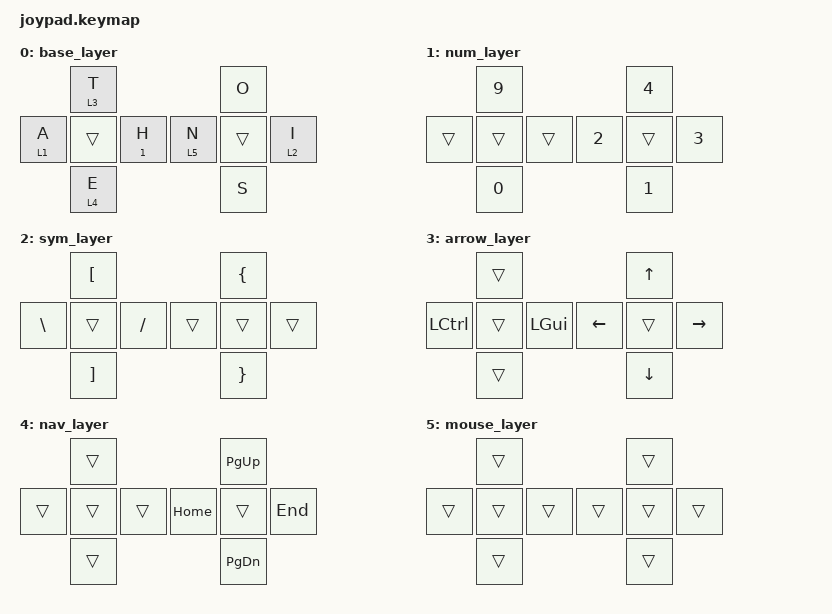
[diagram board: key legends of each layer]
/*
 * Copyright (c) 2020 The ZMK Contributors
 *
 * SPDX-License-Identifier: MIT
 */

#include <behaviors.dtsi>
#include <dt-bindings/zmk/keys.h>
#include <dt-bindings/zmk/bt.h>

#define KEY_I 7
#define KEY_O 1
#define KEY_N 5
#define KEY_S 9
#define RIGHT_CENTER 6

#define KEY_A 2
#define KEY_T 0
#define KEY_H 4
#define KEY_E 8
#define LEFT_CENTER 3

#define TIMEOUT_COMBO_2 175

/ {
	macros {
		shift_num: shift_num {
			label = "macro_shift_num";
			compatible = "zmk,behavior-macro";
			#binding-cells = <0>;
			wait-ms = <0>;
			bindings = <&macro_press &kp LSHFT &mo 1>
					 , <&macro_pause_for_release>
					 , <&macro_release &mo 1 &kp LSHFT>;
		};
	};

	slt: shift_layer_tap {
		compatible = "zmk,behavior-hold-tap";
		label = "SHIFT_LAYER_TAP";
		#binding-cells = <2>;
		flavor = "tap-preferred";
		tapping-term-ms = <200>;
		bindings = <&shift_num>, <&kp>;
	};

    keymap {
		compatible = "zmk,keymap";
        base_layer {
            bindings = <
                        &lt 3 T                  &kp O
                &lt 1 A &trans &slt 1 H  &lt 5 N &trans &lt 2 I
                        &lt 4 E                  &kp S
            >;
        };

        num_layer {
            bindings = <
                       &kp N9                &kp N4
                &trans &trans &trans  &kp N2 &trans &kp N3
                       &kp N0                &kp N1
            >;
        };

		sym_layer {
			bindings = <
					     &kp LBKT                 &kp LBRC
				&kp BSLH &trans &kp SLASH  &trans &trans &trans
				         &kp RBKT                 &kp RBRC
			>;
		};

		arrow_layer {
			bindings = <
					      &trans                    &kp UP
				&kp LCTRL &trans &kp LGUI  &kp LEFT &trans &kp RIGHT
				          &trans                    &kp DOWN
			>;
		};

		nav_layer {
			bindings = <
					   &trans                  &kp PG_UP
				&trans &trans &trans  &kp HOME &trans &kp END
				       &trans                  &kp PG_DN
			>;
		};

		mouse_layer {
			bindings = <
					   &trans                &trans
				&trans &trans &trans  &trans &trans &trans
				       &trans                &trans
			>;
		};
    };

	combos {
		compatible = "zmk,combos";
		/*****************************************
		 * Left thumb combos
		 *****************************************/
		combo_bksp       { timeout-ms = <TIMEOUT_COMBO_2>; key-positions = <KEY_A KEY_T>; bindings = <&kp BACKSPACE>; layers = <0>; };
		combo_l          { timeout-ms = <TIMEOUT_COMBO_2>; key-positions = <KEY_T KEY_H>; bindings = <&kp L>; layers = <0>; };
		combo_c          { timeout-ms = <TIMEOUT_COMBO_2>; key-positions = <KEY_A KEY_E>; bindings = <&kp C>; layers = <0>; };
		combo_d          { timeout-ms = <TIMEOUT_COMBO_2>; key-positions = <KEY_H KEY_E>; bindings = <&kp D>; layers = <0>; };
		/*****************************************
		 * Right thumb combos
		 *****************************************/
		combo_r          { timeout-ms = <TIMEOUT_COMBO_2>; key-positions = <KEY_N KEY_O>; bindings = <&kp R>; layers = <0>; };
		combo_space      { timeout-ms = <TIMEOUT_COMBO_2>; key-positions = <KEY_O KEY_I>; bindings = <&kp SPACE>; layers = <0>; };
		combo_f          { timeout-ms = <TIMEOUT_COMBO_2>; key-positions = <KEY_N KEY_S>; bindings = <&kp F>; layers = <0>; };
		combo_u          { timeout-ms = <TIMEOUT_COMBO_2>; key-positions = <KEY_S KEY_I>; bindings = <&kp U>; layers = <0>; };
		/*****************************************
		 * Both thumbs together
		 *****************************************/
		combo_v          { timeout-ms = <TIMEOUT_COMBO_2>; key-positions = <KEY_A KEY_N>; bindings = <&kp V>; layers = <0>; };
		combo_m          { timeout-ms = <TIMEOUT_COMBO_2>; key-positions = <KEY_E KEY_S>; bindings = <&kp M>; layers = <0>; };
		combo_g          { timeout-ms = <TIMEOUT_COMBO_2>; key-positions = <KEY_H KEY_I>; bindings = <&kp G>; layers = <0>; };
		combo_y          { timeout-ms = <TIMEOUT_COMBO_2>; key-positions = <KEY_T KEY_O>; bindings = <&kp Y>; layers = <0>; };
		/*****************************************
		 * Both thumbs opposite
		 *****************************************/
		combo_b          { timeout-ms = <TIMEOUT_COMBO_2>; key-positions = <KEY_H KEY_N>; bindings = <&kp B>; layers = <0>; };
		combo_p          { timeout-ms = <TIMEOUT_COMBO_2>; key-positions = <KEY_A KEY_I>; bindings = <&kp P>; layers = <0>; };
		combo_r          { timeout-ms = <TIMEOUT_COMBO_2>; key-positions = <KEY_E KEY_O>; bindings = <&kp R>; layers = <0>; };
		combo_k          { timeout-ms = <TIMEOUT_COMBO_2>; key-positions = <KEY_T KEY_S>; bindings = <&kp K>; layers = <0>; };
		/*****************************************
		 * Both thumbs perpendicular
		 *****************************************/
		combo_j          { timeout-ms = <TIMEOUT_COMBO_2>; key-positions = <KEY_T KEY_I>; bindings = <&kp J>; layers = <0>; };
		combo_q          { timeout-ms = <TIMEOUT_COMBO_2>; key-positions = <KEY_E KEY_N>; bindings = <&kp Q>; layers = <0>; };
		combo_w          { timeout-ms = <TIMEOUT_COMBO_2>; key-positions = <KEY_T KEY_N>; bindings = <&kp W>; layers = <0>; };
		combo_z          { timeout-ms = <TIMEOUT_COMBO_2>; key-positions = <KEY_E KEY_I>; bindings = <&kp Z>; layers = <0>; };
		combo_enter      { timeout-ms = <TIMEOUT_COMBO_2>; key-positions = <KEY_A KEY_S>; bindings = <&kp ENTER>; layers = <0>; };
		combo_shift      { timeout-ms = <TIMEOUT_COMBO_2>; key-positions = <KEY_A KEY_O>; bindings = <&sk LSHIFT>; layers = <0>; };
		combo_comma      { timeout-ms = <TIMEOUT_COMBO_2>; key-positions = <KEY_H KEY_S>; bindings = <&kp COMMA>; layers = <0>; };
		combo_period     { timeout-ms = <TIMEOUT_COMBO_2>; key-positions = <KEY_H KEY_O>; bindings = <&kp PERIOD>; layers = <0>; };

		/*****************************************
		 * Center press combos
		 *****************************************/
        combo_bootloader { timeout-ms = <TIMEOUT_COMBO_2>; key-positions = <LEFT_CENTER RIGHT_CENTER>; bindings = <&bootloader>; };

		/*****************************************
		 *  > 3-key combos
		 *****************************************/
		combo_x          { timeout-ms = <TIMEOUT_COMBO_2>; key-positions = <KEY_E KEY_H KEY_N KEY_S>; bindings = <&kp X>; layers = <0>; };
		combo_ctrl       { timeout-ms = <TIMEOUT_COMBO_2>; key-positions = <KEY_A KEY_T KEY_I KEY_O>; bindings = <&sk LCTRL>; layers = <0>; };
		combo_alt        { timeout-ms = <TIMEOUT_COMBO_2>; key-positions = <KEY_H KEY_S KEY_I>; bindings = <&sk LALT>; layers = <0>; };
		combo_tab        { timeout-ms = <TIMEOUT_COMBO_2>; key-positions = <KEY_T KEY_H KEY_N KEY_O>; bindings = <&kp TAB>; layers = <0>; };
		combo_gui        { timeout-ms = <TIMEOUT_COMBO_2>; key-positions = <KEY_H KEY_N KEY_O>; bindings = <&kp LGUI>; layers = <0>; };
		combo_esc        { timeout-ms = <TIMEOUT_COMBO_2>; key-positions = <KEY_A KEY_E KEY_S KEY_I>; bindings = <&kp ESC>; layers = <0>; };
		combo_delete     { timeout-ms = <TIMEOUT_COMBO_2>; key-positions = <KEY_T KEY_H KEY_O KEY_I>; bindings = <&kp DELETE>; layers = <0>; };

		/*****************************************
		 * Number layer combos
		 *****************************************/
		combo_5          { timeout-ms = <TIMEOUT_COMBO_2>; key-positions = <KEY_T KEY_S>; bindings = <&kp N5>; layers = <1>; };
		combo_6          { timeout-ms = <TIMEOUT_COMBO_2>; key-positions = <KEY_T KEY_N>; bindings = <&kp N6>; layers = <1>; };
		combo_7          { timeout-ms = <TIMEOUT_COMBO_2>; key-positions = <KEY_T KEY_I>; bindings = <&kp N7>; layers = <1>; };
		combo_8          { timeout-ms = <TIMEOUT_COMBO_2>; key-positions = <KEY_T KEY_O>; bindings = <&kp N8>; layers = <1>; };
		combo_semicolon  { timeout-ms = <TIMEOUT_COMBO_2>; key-positions = <KEY_E KEY_S>; bindings = <&kp SEMICOLON>; layers = <1>; };
		combo_minus      { timeout-ms = <TIMEOUT_COMBO_2>; key-positions = <KEY_E KEY_N>; bindings = <&kp MINUS>; layers = <1>; };
		combo_equals     { timeout-ms = <TIMEOUT_COMBO_2>; key-positions = <KEY_E KEY_I>; bindings = <&kp EQUAL>; layers = <1>; };
		// combo_u          { timeout-ms = <TIMEOUT_COMBO_2>; key-positions = <KEY_E KEY_O>; bindings = <&kp U>; layers = <1>; };

		/*****************************************
		 * Number layer combos
		 *****************************************/
		combo_backtick   { timeout-ms = <TIMEOUT_COMBO_2>; key-positions = <KEY_T KEY_S>; bindings = <&kp GRAVE>; layers = <2>; };
		combo_singleqt   { timeout-ms = <TIMEOUT_COMBO_2>; key-positions = <KEY_A KEY_S>; bindings = <&kp SINGLE_QUOTE>; layers = <2>; };
		combo_pipe       { timeout-ms = <TIMEOUT_COMBO_2>; key-positions = <KEY_A KEY_O>; bindings = <&kp PIPE>; layers = <2>; };
		combo_lt         { timeout-ms = <TIMEOUT_COMBO_2>; key-positions = <KEY_T KEY_O>; bindings = <&kp LESS_THAN>; layers = <2>; };
		combo_gt         { timeout-ms = <TIMEOUT_COMBO_2>; key-positions = <KEY_E KEY_S>; bindings = <&kp GREATER_THAN>; layers = <2>; };
		combo_doubleqt   { timeout-ms = <TIMEOUT_COMBO_2>; key-positions = <KEY_H KEY_S>; bindings = <&kp DOUBLE_QUOTES>; layers = <2>; };
		combo_question   { timeout-ms = <TIMEOUT_COMBO_2>; key-positions = <KEY_H KEY_O>; bindings = <&kp QUESTION>; layers = <2>; };
		combo_tilde      { timeout-ms = <TIMEOUT_COMBO_2>; key-positions = <KEY_E KEY_O>; bindings = <&kp TILDE>; layers = <2>; };
	};
};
